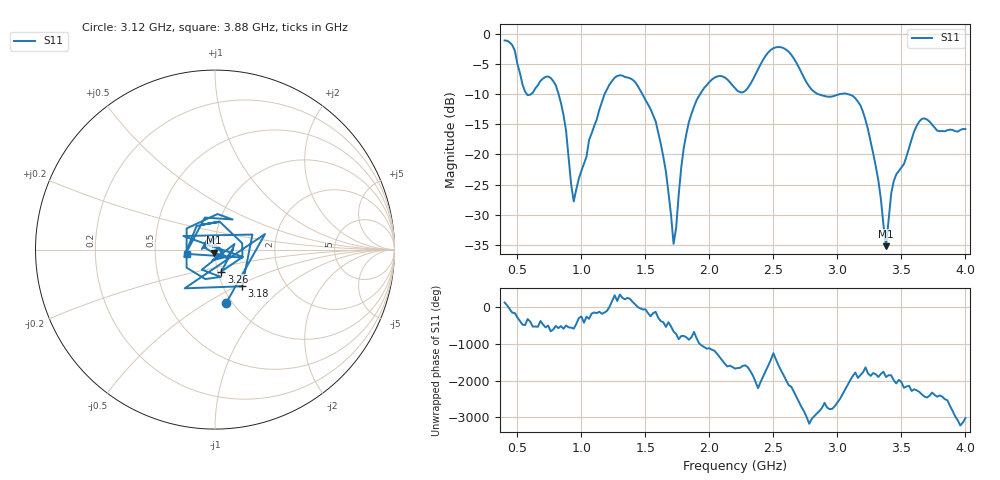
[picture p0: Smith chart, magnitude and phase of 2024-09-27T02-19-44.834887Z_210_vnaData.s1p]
!Created with skrf (http://scikit-rf.org).
# Hz S RI R 50.0
!freq ReS11 ImS11
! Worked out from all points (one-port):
!   181 points, 400 MHz to 4 GHz, reference 50 ohm
!   lowest |S11| = -35.2 dB at 3.38 GHz (marker M1), VSWR 1.04, Z = 49.5 - j1.66 ohm
!   |S11| at or under -10 dB: 821.4 MHz to 1.181 GHz (360.1 MHz wide, 36 % of centre); 1.476 GHz to 1.928 GHz (452.5 MHz wide, 26.6 % of centre); 3.078 GHz to end of sweep (the widest 3 of 5)
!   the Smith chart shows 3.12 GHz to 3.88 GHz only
!   S11 on the Smith chart (normalised r, x): 3.12 GHz: 0.94, -0.62; 3.18 GHz: 1.23, -0.54; 3.26 GHz: 1.04, -0.26; 3.88 GHz: 0.73, -0.04
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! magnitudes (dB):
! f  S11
! 400 MHz  -1.1
! 580 MHz  -10.2
! 740 MHz  -7.1
! 860 MHz  -13.5
! 940 MHz  -27.8
! 1.18 GHz  -10.1
! 1.3 GHz  -6.9
! 1.58 GHz  -14.5
! 1.66 GHz  -22.8
! 1.72 GHz  -34.8
! 1.76 GHz  -26.7
! 1.82 GHz  -16.6
! 1.9 GHz  -11.0
! 2.06 GHz  -7.1
! 2.2 GHz  -9.0
! 2.5 GHz  -2.4
! 2.66 GHz  -4.1
! 2.84 GHz  -9.9
! 3.1 GHz  -10.1
! 3.12 GHz  -10.3
! 3.18 GHz  -11.9
! 3.26 GHz  -17.9
! 3.38 GHz  -35.2
! 3.44 GHz  -24.4
! 3.56 GHz  -18.9
! 3.66 GHz  -14.1
! 3.88 GHz  -15.9
! 4 GHz  -15.8
